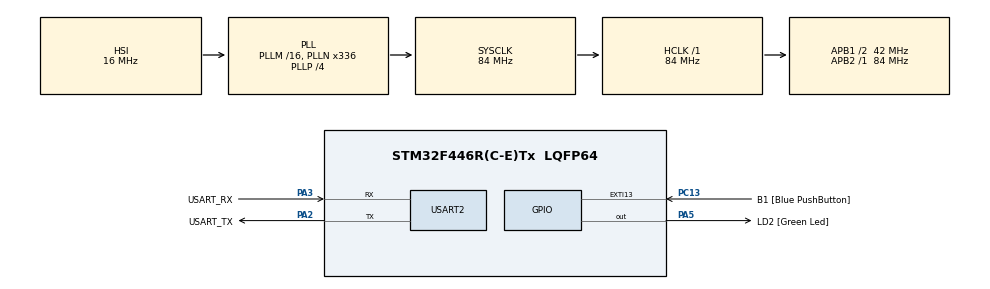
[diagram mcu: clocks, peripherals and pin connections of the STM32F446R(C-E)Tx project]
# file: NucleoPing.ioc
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Mcu.Family=STM32F4
Mcu.Name=STM32F446R(C-E)Tx
Mcu.Package=LQFP64
NVIC.PriorityGroup=NVIC_PRIORITYGROUP_0
PA13.GPIO_Label=TMS
PA13.Mode=Serial_Wire
PA13.Signal=SYS_JTMS-SWDIO
PA14.GPIO_Label=TCK
PA14.Mode=Serial_Wire
PA14.Signal=SYS_JTCK-SWCLK
PA2.GPIO_Label=USART_TX
PA2.Mode=Asynchronous
PA2.Signal=USART2_TX
PA3.GPIO_Label=USART_RX
PA3.Mode=Asynchronous
PA3.Signal=USART2_RX
PA5.GPIO_Label=LD2 [Green Led]
PA5.Signal=GPIO_Output
PB3.GPIO_Label=SWO
PB3.Signal=SYS_JTDO-SWO
PC13.GPIO_Label=B1 [Blue PushButton]
PC13.GPIO_ModeDefaultEXTI=GPIO_MODE_IT_FALLING
PC13.Signal=GPXTI13
PC14-OSC32_IN.Mode=LSE-External-Oscillator
PC14-OSC32_IN.Signal=RCC_OSC32_IN
PC15-OSC32_OUT.Mode=LSE-External-Oscillator
PC15-OSC32_OUT.Signal=RCC_OSC32_OUT
PH0-OSC_IN.Mode=HSE-External-Oscillator
PH0-OSC_IN.Signal=RCC_OSC_IN
PH1-OSC_OUT.Mode=HSE-External-Oscillator
PH1-OSC_OUT.Signal=RCC_OSC_OUT
ProjectManager.HeapSize=0x200
ProjectManager.StackSize=0x400
ProjectManager.TargetToolchain=Makefile
RCC.48MHZClocksFreq_Value=84000000
RCC.AHBFreq_Value=84000000
RCC.APB1CLKDivider=RCC_HCLK_DIV2
RCC.APB1Freq_Value=42000000
RCC.APB1TimFreq_Value=84000000
RCC.APB2Freq_Value=84000000
RCC.APB2TimFreq_Value=84000000
RCC.CortexFreq_Value=84000000
RCC.FLatency-AdvancedSettings=FLASH_LATENCY_2
RCC.HCLKFreq_Value=84000000
RCC.HSE_VALUE=8000000
RCC.HSI_VALUE=16000000
RCC.PLLN=336
RCC.PLLP=RCC_PLLP_DIV4
RCC.SYSCLKFreq_VALUE=84000000
RCC.SYSCLKSource=RCC_SYSCLKSOURCE_PLLCLK
RCC.USBFreq_Value=168000000
RCC.VCOOutputFreq_Value=336000000
USART2.VirtualMode=VM_ASYNC
board=NUCLEO-F446RE

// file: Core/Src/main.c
/* USER CODE BEGIN Header */
/**
  ******************************************************************************
  * @file           : main.c
  * @brief          : Main program body
  ******************************************************************************
  * @attention
  *
  * Copyright (c) 2026 STMicroelectronics.
  * All rights reserved.
  *
  * This software is licensed under terms that can be found in the LICENSE file
  * in the root directory of this software component.
  * If no LICENSE file comes with this software, it is provided AS-IS.
  *
  ******************************************************************************
  */
/* USER CODE END Header */
#include "main.h"

/* USER CODE BEGIN Includes */
#include "ping_proto.h"
/* USER CODE END Includes */

UART_HandleTypeDef huart2;

/* USER CODE BEGIN PV */
static IWDG_HandleTypeDef hiwdg;
/* USER CODE END PV */

void SystemClock_Config(void);
static void MX_GPIO_Init(void);
static void MX_USART2_UART_Init(void);
/* USER CODE BEGIN PFP */
static void MX_IWDG_Init(void);
/* USER CODE END PFP */

int main(void)
{

  /* USER CODE BEGIN 1 */
  ping_early_safety_init();
  /* USER CODE END 1 */

  /* MCU Configuration--------------------------------------------------------*/

  /* Reset of all peripherals, Initializes the Flash interface and the Systick. */
  HAL_Init();

  /* Configure the system clock */
  SystemClock_Config();

  /* Initialize all configured peripherals */
  MX_GPIO_Init();
  MX_USART2_UART_Init();
  /* USER CODE BEGIN 2 */
  ping_init(&huart2);
  MX_IWDG_Init();
  ping_set_iwdg(&hiwdg);
  /* USER CODE END 2 */

  /* Infinite loop */
  while (1)
  {

    /* USER CODE BEGIN 3 */
    ping_poll();
  }
  /* USER CODE END 3 */
}

void SystemClock_Config(void)
{
  RCC_OscInitTypeDef RCC_OscInitStruct = {0};
  RCC_ClkInitTypeDef RCC_ClkInitStruct = {0};

  /** Configure the main internal regulator output voltage
  */
  __HAL_RCC_PWR_CLK_ENABLE();
  __HAL_PWR_VOLTAGESCALING_CONFIG(PWR_REGULATOR_VOLTAGE_SCALE3);

  /** Initializes the RCC Oscillators according to the specified parameters
  * in the RCC_OscInitTypeDef structure.
  */
  RCC_OscInitStruct.OscillatorType = RCC_OSCILLATORTYPE_HSI;
  RCC_OscInitStruct.HSIState = RCC_HSI_ON;
  RCC_OscInitStruct.HSICalibrationValue = RCC_HSICALIBRATION_DEFAULT;
  RCC_OscInitStruct.PLL.PLLState = RCC_PLL_ON;
  RCC_OscInitStruct.PLL.PLLSource = RCC_PLLSOURCE_HSI;
  RCC_OscInitStruct.PLL.PLLM = 16;
  RCC_OscInitStruct.PLL.PLLN = 336;
  RCC_OscInitStruct.PLL.PLLP = RCC_PLLP_DIV4;
  RCC_OscInitStruct.PLL.PLLQ = 2;
  RCC_OscInitStruct.PLL.PLLR = 2;
  if (HAL_RCC_OscConfig(&RCC_OscInitStruct) != HAL_OK)
  {
    Error_Handler();
  }

  /** Initializes the CPU, AHB and APB buses clocks
  */
  RCC_ClkInitStruct.ClockType = RCC_CLOCKTYPE_HCLK|RCC_CLOCKTYPE_SYSCLK
                              |RCC_CLOCKTYPE_PCLK1|RCC_CLOCKTYPE_PCLK2;
  RCC_ClkInitStruct.SYSCLKSource = RCC_SYSCLKSOURCE_PLLCLK;
  RCC_ClkInitStruct.AHBCLKDivider = RCC_SYSCLK_DIV1;
  RCC_ClkInitStruct.APB1CLKDivider = RCC_HCLK_DIV2;
  RCC_ClkInitStruct.APB2CLKDivider = RCC_HCLK_DIV1;

  if (HAL_RCC_ClockConfig(&RCC_ClkInitStruct, FLASH_LATENCY_2) != HAL_OK)
  {
    Error_Handler();
  }
}

static void MX_USART2_UART_Init(void)
{

  huart2.Instance = USART2;
  huart2.Init.BaudRate = 115200;
  huart2.Init.WordLength = UART_WORDLENGTH_8B;
  huart2.Init.StopBits = UART_STOPBITS_1;
  huart2.Init.Parity = UART_PARITY_NONE;
  huart2.Init.Mode = UART_MODE_TX_RX;
  huart2.Init.HwFlowCtl = UART_HWCONTROL_NONE;
  huart2.Init.OverSampling = UART_OVERSAMPLING_16;
  if (HAL_UART_Init(&huart2) != HAL_OK)
  {
    Error_Handler();
  }

}

static void MX_GPIO_Init(void)
{
  GPIO_InitTypeDef GPIO_InitStruct = {0};

  /* GPIO Ports Clock Enable */
  __HAL_RCC_GPIOC_CLK_ENABLE();
  __HAL_RCC_GPIOH_CLK_ENABLE();
  __HAL_RCC_GPIOA_CLK_ENABLE();
  __HAL_RCC_GPIOB_CLK_ENABLE();

  /*Configure GPIO pin Output Level */
  HAL_GPIO_WritePin(LD2_GPIO_Port, LD2_Pin, GPIO_PIN_RESET);

  /*Configure GPIO pin : B1_Pin */
  GPIO_InitStruct.Pin = B1_Pin;
  GPIO_InitStruct.Mode = GPIO_MODE_IT_FALLING;
  GPIO_InitStruct.Pull = GPIO_NOPULL;
  HAL_GPIO_Init(B1_GPIO_Port, &GPIO_InitStruct);

  /*Configure GPIO pin : LD2_Pin */
  GPIO_InitStruct.Pin = LD2_Pin;
  GPIO_InitStruct.Mode = GPIO_MODE_OUTPUT_PP;
  GPIO_InitStruct.Pull = GPIO_NOPULL;
  GPIO_InitStruct.Speed = GPIO_SPEED_FREQ_LOW;
  HAL_GPIO_Init(LD2_GPIO_Port, &GPIO_InitStruct);

/* USER CODE BEGIN MX_GPIO_Init_2 */
  /* PA8 (LASER_Pin): Output low */
  HAL_GPIO_WritePin(LASER_GPIO_Port, LASER_Pin, GPIO_PIN_RESET);
  GPIO_InitStruct.Pin = LASER_Pin;
  GPIO_InitStruct.Mode = GPIO_MODE_OUTPUT_PP;
  GPIO_InitStruct.Pull = GPIO_NOPULL;
  GPIO_InitStruct.Speed = GPIO_SPEED_FREQ_LOW;
  HAL_GPIO_Init(LASER_GPIO_Port, &GPIO_InitStruct);

  /* PA9 (SENSE_PWR_Pin): Input */
  GPIO_InitStruct.Pin = SENSE_PWR_Pin;
  GPIO_InitStruct.Mode = GPIO_MODE_INPUT;
  GPIO_InitStruct.Pull = GPIO_NOPULL;
  HAL_GPIO_Init(SENSE_PWR_GPIO_Port, &GPIO_InitStruct);

  /* PC7 (SENSE_ESTOP_Pin): Input Pull-up */
  GPIO_InitStruct.Pin = SENSE_ESTOP_Pin;
  GPIO_InitStruct.Mode = GPIO_MODE_INPUT;
  GPIO_InitStruct.Pull = GPIO_PULLUP;
  HAL_GPIO_Init(SENSE_ESTOP_GPIO_Port, &GPIO_InitStruct);
/* USER CODE END MX_GPIO_Init_2 */
}

/* USER CODE BEGIN 4 */
static void MX_IWDG_Init(void)
{
  hiwdg.Instance = IWDG;
  hiwdg.Init.Prescaler = IWDG_PRESCALER_32;
  hiwdg.Init.Reload = 1000;
  if (HAL_IWDG_Init(&hiwdg) != HAL_OK)
  {
    Error_Handler();
  }
}
/* USER CODE END 4 */

void Error_Handler(void)
{
  __disable_irq();
  while (1)
  {
  }
}
